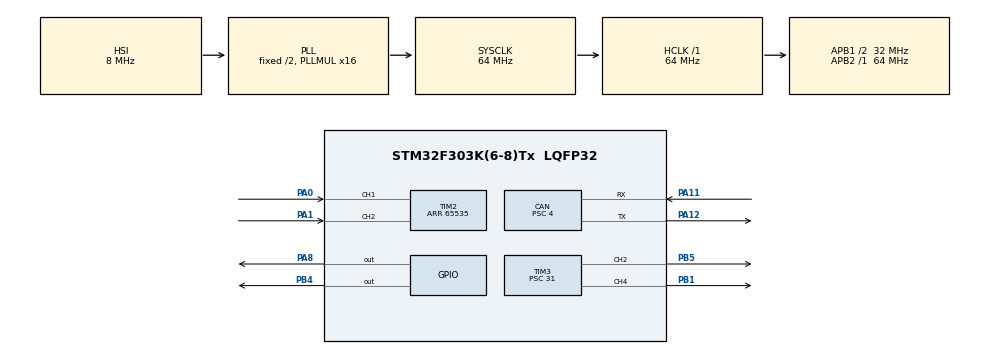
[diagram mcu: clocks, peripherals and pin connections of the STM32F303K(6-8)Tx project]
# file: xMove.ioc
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CAN.BS1=CAN_BS1_13TQ
CAN.BS2=CAN_BS2_4TQ
CAN.CalculateBaudRate=444444
CAN.CalculateTimeBit=2250
CAN.CalculateTimeQuantum=125.0
CAN.Prescaler=4
Mcu.Family=STM32F3
Mcu.Name=STM32F303K(6-8)Tx
Mcu.Package=LQFP32
NVIC.CAN_RX0_IRQn=true\:0\:0\:false\:false\:true\:true\:true\:true
NVIC.PriorityGroup=NVIC_PRIORITYGROUP_4
NVIC.TIM2_IRQn=true\:0\:0\:false\:false\:true\:true\:true\:true
PA0.Signal=S_TIM2_CH1_ETR
PA1.Signal=S_TIM2_CH2
PA11.Mode=CAN_Activate
PA11.Signal=CAN_RX
PA12.Mode=CAN_Activate
PA12.Signal=CAN_TX
PA8.Signal=GPIO_Output
PB1.Signal=S_TIM3_CH4
PB4.Signal=GPIO_Output
PB5.Signal=S_TIM3_CH2
ProjectManager.HeapSize=0x200
ProjectManager.StackSize=0x400
ProjectManager.TargetToolchain=STM32CubeIDE
RCC.AHBFreq_Value=64000000
RCC.APB1CLKDivider=RCC_HCLK_DIV2
RCC.APB1Freq_Value=32000000
RCC.APB1TimFreq_Value=64000000
RCC.APB2Freq_Value=64000000
RCC.APB2TimFreq_Value=64000000
RCC.CortexFreq_Value=64000000
RCC.HCLKFreq_Value=64000000
RCC.HSE_VALUE=8000000
RCC.HSI_VALUE=8000000
RCC.PLLMUL=RCC_PLL_MUL16
RCC.SYSCLKFreq_VALUE=64000000
RCC.SYSCLKSourceVirtual=RCC_SYSCLKSOURCE_PLLCLK
SH.S_TIM2_CH1_ETR.0=TIM2_CH1,Encoder_Interface
SH.S_TIM2_CH2.0=TIM2_CH2,Encoder_Interface
SH.S_TIM3_CH2.0=TIM3_CH2,PWM Generation2 CH2
SH.S_TIM3_CH4.0=TIM3_CH4,PWM Generation4 CH4
TIM2.EncoderMode=TIM_ENCODERMODE_TI12
TIM2.Period=65535
TIM3.Channel-PWM\ Generation2\ CH2=TIM_CHANNEL_2
TIM3.Channel-PWM\ Generation4\ CH4=TIM_CHANNEL_4
TIM3.Period=999
TIM3.Prescaler=31
board=custom

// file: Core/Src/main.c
/* USER CODE BEGIN Header */
/**
  ******************************************************************************
  * @file           : main.c
  * @brief          : Main program body
  ******************************************************************************
  * @attention
  *
  * Copyright (c) 2022 STMicroelectronics.
  * All rights reserved.
  *
  * This software is licensed under terms that can be found in the LICENSE file
  * in the root directory of this software component.
  * If no LICENSE file comes with this software, it is provided AS-IS.
  *
  ******************************************************************************
  */
/* USER CODE END Header */
#include "main.h"

/* USER CODE BEGIN Includes */
#include "stdio.h"
#include "string.h"
/* USER CODE END Includes */

 CAN_HandleTypeDef hcan;

TIM_HandleTypeDef htim2;
TIM_HandleTypeDef htim3;

void SystemClock_Config(void);
static void MX_GPIO_Init(void);
static void MX_TIM2_Init(void);
static void MX_TIM3_Init(void);
static void MX_CAN_Init(void);

/* USER CODE BEGIN 0 */
//�?
const float Kp = 0.07;
//�?
const float Ki = 0.0004;
//微
const float Kd = 0;
float PreValueDif = 0;
float SumValueDif = 0;
long goal = 0;
long output = 0;
long cnt;
long precnt = 0;
long overflowcnt = 0;
const long CntPeriod = 65535;
long Location;
void HAL_TIM_PeriodElapsedCallback(TIM_HandleTypeDef* htim)
{
	if(htim->Instance == TIM2){
		__HAL_TIM_CLEAR_FLAG(&htim2, TIM_IT_UPDATE);
		if(__HAL_TIM_IS_TIM_COUNTING_DOWN(&htim2))
		{
			overflowcnt --;
		}
		else
		{
			overflowcnt ++;
		}
	}
}
int movingFlag = 0;
int Rotate_Init(int target){
	if(movingFlag == 1)return -1;
	SumValueDif=0;
	movingFlag = 1;
	//初期化す
	Location = 0;//現在地
	goal = target;
	return 0;
}
float Rotate_PID(float _now, float _goal){
	  float ValueDif = _goal - _now;
	  if(SumValueDif / 10000 * ValueDif < 0)SumValueDif += ValueDif;
	  else SumValueDif += ValueDif/10000;
	  float DValueDif = ValueDif - PreValueDif;
	  float output = Kp * ValueDif + Ki * SumValueDif + Kd * DValueDif;
	  PreValueDif = ValueDif;
	  return output;
}

long stopError = 2;
long stopCount = 0;
long Abs(long x){
	if(x<0)return -1*x;
	return x;
}

void MorterReset(){
	movingFlag = 0;
	Location = 0;
	SumValueDif=0;
	stopCount=0;
	__HAL_TIM_SET_COMPARE(&htim3,TIM_CHANNEL_2, 0);
}

int Motor_End(){
	if(  Abs(Location - goal) < stopError){
		stopCount++;
		if(stopCount >= 200){
			MorterReset();
		}
	}
	else stopCount = 0;
}

int autoFlag = 0;
int stopFlag = 0;

CAN_FilterTypeDef filter;
void Filter_Init(){
	filter.FilterIdHigh         = 0;
	filter.FilterIdLow          = 0;
	filter.FilterMaskIdHigh     = 0;
	filter.FilterMaskIdLow      = 0;
	filter.FilterScale          = CAN_FILTERSCALE_32BIT;
	filter.FilterFIFOAssignment = CAN_FILTER_FIFO0;
	filter.FilterBank           = 0;
	filter.FilterMode           = CAN_FILTERMODE_IDMASK;
	filter.SlaveStartFilterBank = 14;
	filter.FilterActivation     = ENABLE;
	HAL_CAN_ConfigFilter(&hcan, &filter);
}

uint32_t id;
uint32_t dlc;
uint8_t data[8];
uint8_t adjust_speed=1;

const long rotateVal= 76500;

void HAL_CAN_RxFifo0MsgPendingCallback(CAN_HandleTypeDef *hcan)
{
	CAN_RxHeaderTypeDef RxHeader;
	uint8_t RxData[8];
	if (HAL_CAN_GetRxMessage(hcan, CAN_RX_FIFO0, &RxHeader, RxData) == HAL_OK)
	{
		if(RxHeader.StdId==0x552){
			id = (RxHeader.IDE == CAN_ID_STD)? RxHeader.StdId : RxHeader.ExtId;
			dlc = RxHeader.DLC;
			if(RxData[5]=='T'){
				autoFlag=1;
			}
			else{
				autoFlag=0;
				MorterReset();
			}

			if(RxData[0]=='L'){
				if(autoFlag == 1){
					Rotate_Init(rotateVal);
				}
				else {
				  HAL_GPIO_WritePin(GPIOB, GPIO_PIN_4, GPIO_PIN_SET);
				  __HAL_TIM_SET_COMPARE(&htim3, TIM_CHANNEL_2, 500);
				}

				//HAL_GPIO_WritePin(GPIOB, GPIO_PIN_4, GPIO_PIN_RESET);
				//__HAL_TIM_SET_COMPARE(&htim3, TIM_CHANNEL_2, 300);
			}
			else if(RxData[0]=='N'){
//				HAL_GPIO_WritePin(GPIOF, GPIO_PIN_0, GPIO_PIN_RESET);
				if(autoFlag = 1)__HAL_TIM_SET_COMPARE(&htim3,TIM_CHANNEL_2, 0);
			}
			else if(RxData[0]=='R'){

				if(autoFlag == 1){
					//Rotate_Init(_target);
					Rotate_Init(-1* rotateVal);
				}
				else{
					  HAL_GPIO_WritePin(GPIOB, GPIO_PIN_4, GPIO_PIN_RESET);
					  __HAL_TIM_SET_COMPARE(&htim3, TIM_CHANNEL_2, 500);
				}
				//HAL_GPIO_WritePin(GPIOB, GPIO_PIN_4, GPIO_PIN_SET);
				//__HAL_TIM_SET_COMPARE(&htim3, TIM_CHANNEL_2, 300);

			}

			data[0] = RxData[0];
			data[1] = RxData[1];
			data[2] = RxData[2];
			data[3] = RxData[3];
			data[4] = RxData[4];
			data[5] = RxData[5];
			data[6] = RxData[6];
			data[7] = RxData[7];
		}
	}
}

/* USER CODE END 0 */

int main(void)
{

  /* MCU Configuration--------------------------------------------------------*/

  /* Reset of all peripherals, Initializes the Flash interface and the Systick. */
  HAL_Init();

  /* Configure the system clock */
  SystemClock_Config();

  /* Initialize all configured peripherals */
  MX_GPIO_Init();
  MX_TIM2_Init();
  MX_TIM3_Init();
  MX_CAN_Init();
  /* USER CODE BEGIN 2 */
  //char scnt[100];
  overflowcnt = 0;
  HAL_TIM_Encoder_Start(&htim2,TIM_CHANNEL_ALL);
  HAL_TIM_Base_Start_IT(&htim2);
  HAL_CAN_Start(&hcan);
  Filter_Init();
  HAL_CAN_ActivateNotification(&hcan, CAN_IT_RX_FIFO0_MSG_PENDING);

  HAL_TIM_PWM_Start(&htim3, TIM_CHANNEL_2);
  HAL_TIM_PWM_Start(&htim3, TIM_CHANNEL_4);

  /* USER CODE END 2 */

  /* Infinite loop */
  /* USER CODE BEGIN WHILE */

  while (1)
  {
	  cnt = (long)(overflowcnt) * CntPeriod + (long)TIM2 -> CNT;//現在のcntを更新する
	  if(movingFlag == 1){
		  Location +=  -1 * (cnt - precnt);
		  output = (long)Rotate_PID(Location, goal);//目標と現在地でPID制御
		  if(output<0){
			  output*=-1;
			  HAL_GPIO_WritePin(GPIOB, GPIO_PIN_4, GPIO_PIN_RESET);
		  }
		  else{
			  HAL_GPIO_WritePin(GPIOB, GPIO_PIN_4, GPIO_PIN_SET);
		  }
		  if(output > 500) output = 500;
		  Motor_End();
	  }
	  if(movingFlag == 0){
		  output = 0;
	  }
	  if(autoFlag == 1)__HAL_TIM_SET_COMPARE(&htim3, TIM_CHANNEL_2, output);

	  precnt = cnt;

//	  HAL_Delay( 100 );
    /* USER CODE END WHILE */

  }
}

void SystemClock_Config(void)
{
  RCC_OscInitTypeDef RCC_OscInitStruct = {0};
  RCC_ClkInitTypeDef RCC_ClkInitStruct = {0};

  /** Initializes the RCC Oscillators according to the specified parameters
  * in the RCC_OscInitTypeDef structure.
  */
  RCC_OscInitStruct.OscillatorType = RCC_OSCILLATORTYPE_HSI;
  RCC_OscInitStruct.HSIState = RCC_HSI_ON;
  RCC_OscInitStruct.HSICalibrationValue = RCC_HSICALIBRATION_DEFAULT;
  RCC_OscInitStruct.PLL.PLLState = RCC_PLL_ON;
  RCC_OscInitStruct.PLL.PLLSource = RCC_PLLSOURCE_HSI;
  RCC_OscInitStruct.PLL.PLLMUL = RCC_PLL_MUL16;
  if (HAL_RCC_OscConfig(&RCC_OscInitStruct) != HAL_OK)
  {
    Error_Handler();
  }

  /** Initializes the CPU, AHB and APB buses clocks
  */
  RCC_ClkInitStruct.ClockType = RCC_CLOCKTYPE_HCLK|RCC_CLOCKTYPE_SYSCLK
                              |RCC_CLOCKTYPE_PCLK1|RCC_CLOCKTYPE_PCLK2;
  RCC_ClkInitStruct.SYSCLKSource = RCC_SYSCLKSOURCE_PLLCLK;
  RCC_ClkInitStruct.AHBCLKDivider = RCC_SYSCLK_DIV1;
  RCC_ClkInitStruct.APB1CLKDivider = RCC_HCLK_DIV2;
  RCC_ClkInitStruct.APB2CLKDivider = RCC_HCLK_DIV1;

  if (HAL_RCC_ClockConfig(&RCC_ClkInitStruct, FLASH_LATENCY_2) != HAL_OK)
  {
    Error_Handler();
  }
}

static void MX_CAN_Init(void)
{

  hcan.Instance = CAN;
  hcan.Init.Prescaler = 4;
  hcan.Init.Mode = CAN_MODE_NORMAL;
  hcan.Init.SyncJumpWidth = CAN_SJW_1TQ;
  hcan.Init.TimeSeg1 = CAN_BS1_13TQ;
  hcan.Init.TimeSeg2 = CAN_BS2_4TQ;
  hcan.Init.TimeTriggeredMode = DISABLE;
  hcan.Init.AutoBusOff = DISABLE;
  hcan.Init.AutoWakeUp = DISABLE;
  hcan.Init.AutoRetransmission = DISABLE;
  hcan.Init.ReceiveFifoLocked = DISABLE;
  hcan.Init.TransmitFifoPriority = DISABLE;
  if (HAL_CAN_Init(&hcan) != HAL_OK)
  {
    Error_Handler();
  }

}

static void MX_TIM2_Init(void)
{

  TIM_Encoder_InitTypeDef sConfig = {0};
  TIM_MasterConfigTypeDef sMasterConfig = {0};

  htim2.Instance = TIM2;
  htim2.Init.Prescaler = 0;
  htim2.Init.CounterMode = TIM_COUNTERMODE_UP;
  htim2.Init.Period = 65535;
  htim2.Init.ClockDivision = TIM_CLOCKDIVISION_DIV1;
  htim2.Init.AutoReloadPreload = TIM_AUTORELOAD_PRELOAD_DISABLE;
  sConfig.EncoderMode = TIM_ENCODERMODE_TI12;
  sConfig.IC1Polarity = TIM_ICPOLARITY_RISING;
  sConfig.IC1Selection = TIM_ICSELECTION_DIRECTTI;
  sConfig.IC1Prescaler = TIM_ICPSC_DIV1;
  sConfig.IC1Filter = 0;
  sConfig.IC2Polarity = TIM_ICPOLARITY_RISING;
  sConfig.IC2Selection = TIM_ICSELECTION_DIRECTTI;
  sConfig.IC2Prescaler = TIM_ICPSC_DIV1;
  sConfig.IC2Filter = 0;
  if (HAL_TIM_Encoder_Init(&htim2, &sConfig) != HAL_OK)
  {
    Error_Handler();
  }
  sMasterConfig.MasterOutputTrigger = TIM_TRGO_RESET;
  sMasterConfig.MasterSlaveMode = TIM_MASTERSLAVEMODE_DISABLE;
  if (HAL_TIMEx_MasterConfigSynchronization(&htim2, &sMasterConfig) != HAL_OK)
  {
    Error_Handler();
  }

}

static void MX_TIM3_Init(void)
{

  TIM_MasterConfigTypeDef sMasterConfig = {0};
  TIM_OC_InitTypeDef sConfigOC = {0};

  htim3.Instance = TIM3;
  htim3.Init.Prescaler = 31;
  htim3.Init.CounterMode = TIM_COUNTERMODE_UP;
  htim3.Init.Period = 999;
  htim3.Init.ClockDivision = TIM_CLOCKDIVISION_DIV1;
  htim3.Init.AutoReloadPreload = TIM_AUTORELOAD_PRELOAD_DISABLE;
  if (HAL_TIM_PWM_Init(&htim3) != HAL_OK)
  {
    Error_Handler();
  }
  sMasterConfig.MasterOutputTrigger = TIM_TRGO_RESET;
  sMasterConfig.MasterSlaveMode = TIM_MASTERSLAVEMODE_DISABLE;
  if (HAL_TIMEx_MasterConfigSynchronization(&htim3, &sMasterConfig) != HAL_OK)
  {
    Error_Handler();
  }
  sConfigOC.OCMode = TIM_OCMODE_PWM1;
  sConfigOC.Pulse = 0;
  sConfigOC.OCPolarity = TIM_OCPOLARITY_HIGH;
  sConfigOC.OCFastMode = TIM_OCFAST_DISABLE;
  if (HAL_TIM_PWM_ConfigChannel(&htim3, &sConfigOC, TIM_CHANNEL_2) != HAL_OK)
  {
    Error_Handler();
  }
  if (HAL_TIM_PWM_ConfigChannel(&htim3, &sConfigOC, TIM_CHANNEL_4) != HAL_OK)
  {
    Error_Handler();
  }
  HAL_TIM_MspPostInit(&htim3);

}

static void MX_GPIO_Init(void)
{
  GPIO_InitTypeDef GPIO_InitStruct = {0};

  /* GPIO Ports Clock Enable */
  __HAL_RCC_GPIOA_CLK_ENABLE();
  __HAL_RCC_GPIOB_CLK_ENABLE();

  /*Configure GPIO pin Output Level */
  HAL_GPIO_WritePin(GPIOA, GPIO_PIN_8, GPIO_PIN_RESET);

  /*Configure GPIO pin Output Level */
  HAL_GPIO_WritePin(GPIOB, GPIO_PIN_4, GPIO_PIN_RESET);

  /*Configure GPIO pin : PA8 */
  GPIO_InitStruct.Pin = GPIO_PIN_8;
  GPIO_InitStruct.Mode = GPIO_MODE_OUTPUT_PP;
  GPIO_InitStruct.Pull = GPIO_NOPULL;
  GPIO_InitStruct.Speed = GPIO_SPEED_FREQ_LOW;
  HAL_GPIO_Init(GPIOA, &GPIO_InitStruct);

  /*Configure GPIO pin : PB4 */
  GPIO_InitStruct.Pin = GPIO_PIN_4;
  GPIO_InitStruct.Mode = GPIO_MODE_OUTPUT_PP;
  GPIO_InitStruct.Pull = GPIO_NOPULL;
  GPIO_InitStruct.Speed = GPIO_SPEED_FREQ_LOW;
  HAL_GPIO_Init(GPIOB, &GPIO_InitStruct);

}

void Error_Handler(void)
{
  __disable_irq();
  while (1)
  {
  }
}
